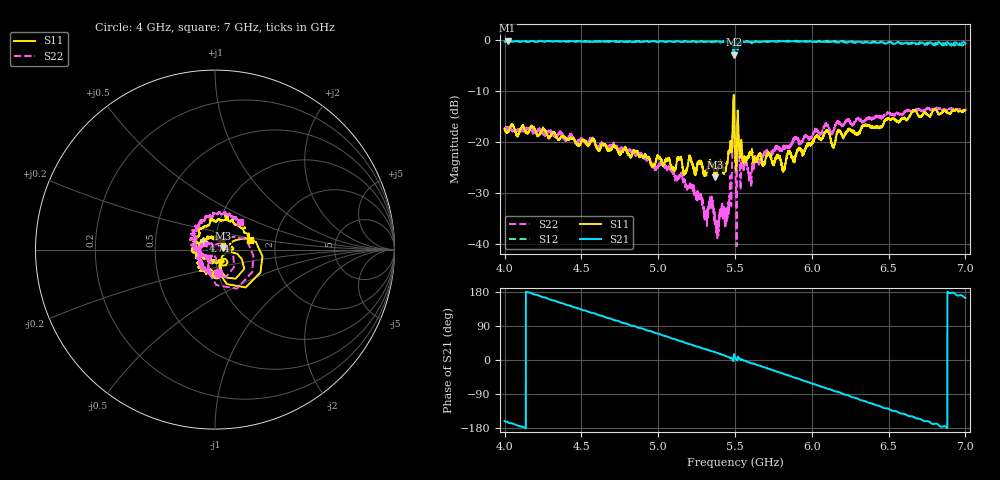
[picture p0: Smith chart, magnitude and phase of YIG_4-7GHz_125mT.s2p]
#  HZ  S  RI  R  50.0
! Rohde & Schwarz ZVL13 2Ports - Version 3.31 - 1303.6509k13 SN: 101088
! Date: 2023-03-06 15:05:11
! Data & Calibration Information:
! Trc4:S11(TOSM) Trc2:S21(TOSM) Trc3:S12(TOSM) Trc5:S22(TOSM)
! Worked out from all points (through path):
!   4000 points, 4 GHz to 7 GHz, reference 50 ohm
!   highest |S21| = -0.19 dB at 4.02 GHz (marker M1); lowest = -2.9 dB at 5.491 GHz (marker M2)
!   group delay of S21, straight-line fit = 364 ps
!   lowest |S11| = -26.9 dB at 5.372 GHz (marker M3), VSWR 1.09, Z = 54.6 + j0.79 ohm
!   |S11| at or under -10 dB: start of sweep to end of sweep
!   |S22| runs from -40.4 to -11.9 dB; largest |S21 - S12| = 0.077
!   S11 on the Smith chart (normalised r, x): 4 GHz: 0.97, -0.27; 4.74 GHz: 0.87, +0.08; 7 GHz: 1.48, +0.17
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4e9  0.00344 -0.1345  -0.9077 -0.3112  -0.9134 -0.2895  0.0183 -0.1285
4.019505e9  -0.0186 -0.1232  -0.9404 -0.271  -0.9323 -0.2738  0.0118 -0.1386
4.276819e9  -0.0725 -0.091  -0.9283 0.2836  -0.9305 0.2935  -0.0691 -0.1028
4.500375e9  -0.1005 -0.00828  -0.6577 0.7099  -0.6525 0.6971  -0.0823 -0.0646
4.740435e9  -0.0661 0.0464  -0.2119 0.9378  -0.1881 0.9375  -0.0831 -0.000908
5e9  -0.000155 0.0718  0.3364 0.8952  0.3396 0.882  -0.0469 0.0356
5.174044e9  0.0336 0.036  0.6706 0.6961  0.6811 0.6996  -0.0322 0.0244
5.214554e9  0.0447 0.0499  0.7244 0.6268  0.7215 0.6329  -0.0204 0.0287
5.309077e9  0.0472 0.0127  0.8427 0.4553  0.8305 0.4613  -0.0122 0.0141
5.345086e9  0.0595 0.0169  0.8811 0.3854  0.8753 0.3684  -0.0153 0.0212
5.372093e9  0.0445 0.00721  0.8993 0.3355  0.9085 0.3454  -0.0137 0.0107
5.448612e9  0.0632 -0.00023  0.9468 0.1538  0.9273 0.1393  0.001 0.0182
5.491373e9  0.2534 -0.1265  0.7108 0.0725  0.7269 0.0582  0.2077 -0.1246
5.500375e9  0.028 -0.0786  0.9394 0.1232  0.9237 0.0984  -0.0307 -0.0634
5.56189e9  0.0115 -0.0694  0.9506 -0.0292  0.9426 -0.0164  -0.0439 -0.0478
5.594899e9  0.0391 -0.0683  0.9413 -0.1171  0.9408 -0.1329  -0.0277 -0.0336
5.814704e9  -0.0308 -0.043  0.7826 -0.5749  0.7715 -0.5727  -0.0854 -0.0192
6e9  -0.0943 -0.012  0.4492 -0.8476  0.4609 -0.8686  -0.1108 0.0236
6.253563e9  -0.1092 0.0692  -0.1109 -0.9545  -0.1126 -0.9761  -0.111 0.1026
6.500375e9  -0.0206 0.1687  -0.5924 -0.738  -0.6091 -0.7384  -0.0504 0.1848
6.772693e9  0.1163 0.1376  -0.9153 -0.234  -0.8768 -0.1962  0.0561 0.1992
7e9  0.1971 0.0541  -0.8799 0.2578  -0.9001 0.2304  0.1396 0.1512
